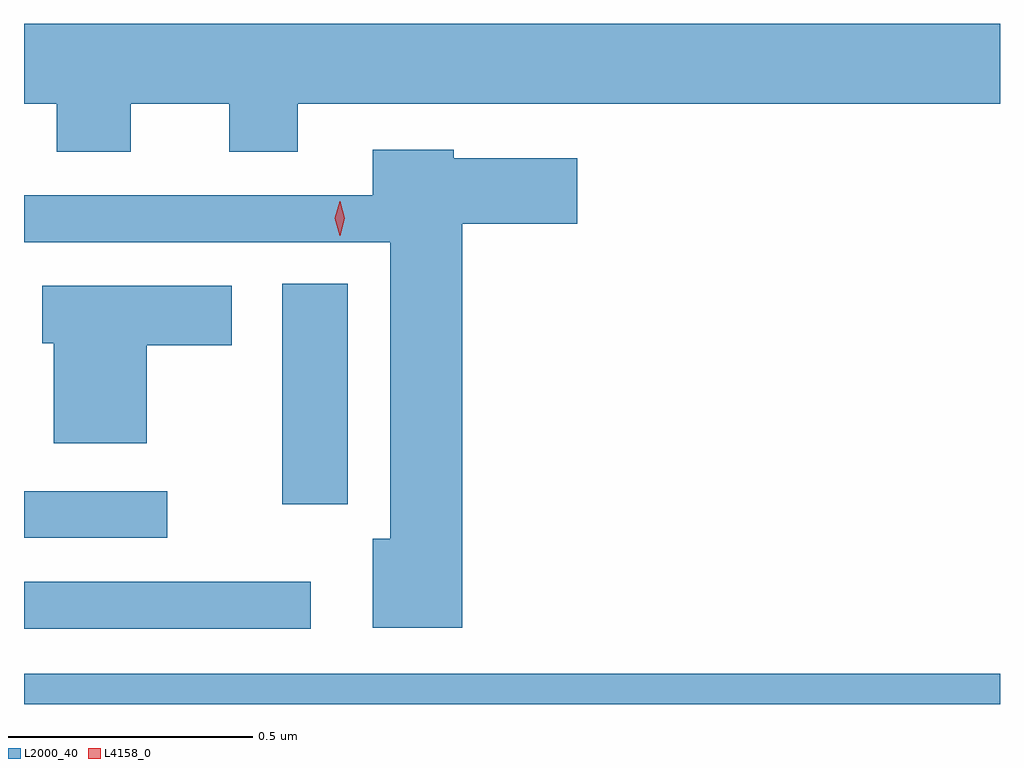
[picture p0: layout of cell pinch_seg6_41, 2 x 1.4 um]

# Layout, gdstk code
import gdstk
lib = gdstk.Library(unit=1e-6, precision=1e-09)
def R(c, l, rs):  # rectangles x0, y0, x1, y1
    for r in rs: c.add(gdstk.rectangle(r[:2], r[2:], *l))
def P(c, l, *ps):  # polygons
    for p in ps: c.add(gdstk.Polygon(p, *l))
L2000_40 = (2000, 40)
L4158_0 = (4158, 0)

pinch_seg6_41 = lib.new_cell('pinch_seg6_41')
R(pinch_seg6_41, L2000_40, [(941.155,958.093,943.155,958.156), (941.155,958.248,941.743,958.344), (941.155,958.434,941.449,958.53), (941.684,958.503,941.818,958.955)])
P(pinch_seg6_41, L2000_40, [(941.374,959.324),(941.576,959.324),(941.576,959.225),(941.716,959.225),(941.716,959.324),(943.155,959.324),(943.155,959.488),(941.155,959.488),(941.155,959.324),(941.222,959.324),(941.222,959.225),(941.374,959.225)],
  [(942.053,959.078),(942.289,959.078),(942.289,959.212),(942.036,959.212),(942.036,959.23),(941.87,959.23),(941.87,959.136),(941.155,959.136),(941.155,959.04),(941.906,959.04),(941.906,958.432),(941.87,958.432),(941.87,958.25),(942.053,958.25)],
  [(941.407,958.829),(941.581,958.829),(941.581,958.951),(941.192,958.951),(941.192,958.833),(941.216,958.833),(941.216,958.628),(941.407,958.628)])
P(pinch_seg6_41, L4158_0, [(941.802,959.053),(941.802,959.053),(941.792,959.089),(941.802,959.124),(941.802,959.124),(941.803,959.124),(941.812,959.089),(941.803,959.053)])

lib.write_gds('pinch_seg6_41.gds')
